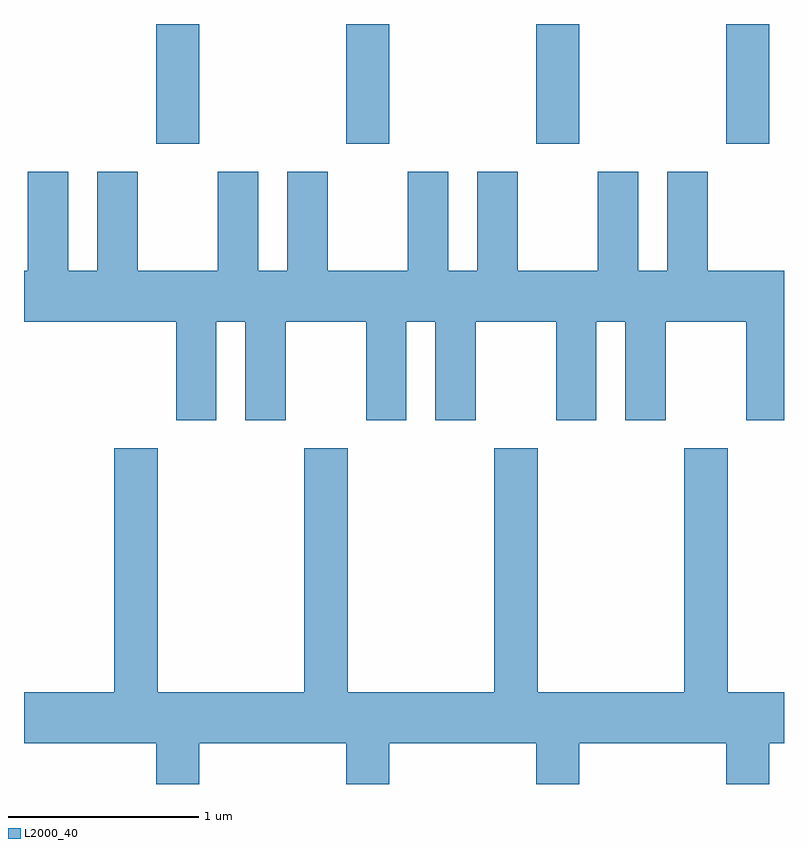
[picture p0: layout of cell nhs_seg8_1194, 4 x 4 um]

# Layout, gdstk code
import gdstk
lib = gdstk.Library(unit=1e-6, precision=1e-09)
def R(c, l, rs):  # rectangles x0, y0, x1, y1
    for r in rs: c.add(gdstk.rectangle(r[:2], r[2:], *l))
def A(c, l, x, y, w, h, nx, ny, dx, dy):  # array of equal rectangles
    R(c, l, [(x+i*dx, y+j*dy, x+i*dx+w, y+j*dy+h) for i in range(nx) for j in range(ny)])
def P(c, l, *ps):  # polygons
    for p in ps: c.add(gdstk.Polygon(p, *l))
L2000_40 = (2000, 40)

nhs_seg8_1194 = lib.new_cell('nhs_seg8_1194')
A(nhs_seg8_1194, L2000_40, 220.306, 1921.711, 0.228, 0.631, 4, 1, 1, 0)
P(nhs_seg8_1194, L2000_40, [(220.624,1920.776),(220.776,1920.776),(220.776,1920.256),(220.989,1920.256),(220.989,1920.776),(221.411,1920.776),(221.411,1920.256),(221.624,1920.256),(221.624,1920.776),(221.776,1920.776),(221.776,1920.256),(221.989,1920.256),(221.989,1920.776),(222.411,1920.776),(222.411,1920.256),(222.624,1920.256),(222.624,1920.776),(222.776,1920.776),(222.776,1920.256),(222.989,1920.256),(222.989,1920.776),(223.411,1920.776),(223.411,1920.256),(223.611,1920.256),(223.611,1921.044),(223.209,1921.044),(223.209,1921.564),(222.996,1921.564),(222.996,1921.044),(222.844,1921.044),(222.844,1921.564),(222.631,1921.564),(222.631,1921.044),(222.209,1921.044),(222.209,1921.564),(221.996,1921.564),(221.996,1921.044),(221.844,1921.044),(221.844,1921.564),(221.631,1921.564),(221.631,1921.044),(221.209,1921.044),(221.209,1921.564),(220.996,1921.564),(220.996,1921.044),(220.844,1921.044),(220.844,1921.564),(220.631,1921.564),(220.631,1921.044),(220.209,1921.044),(220.209,1921.564),(219.996,1921.564),(219.996,1921.044),(219.844,1921.044),(219.844,1921.564),(219.631,1921.564),(219.631,1921.044),(219.611,1921.044),(219.611,1920.776),(220.411,1920.776),(220.411,1920.256),(220.624,1920.256)],
  [(220.314,1920.109),(220.086,1920.109),(220.086,1918.824),(219.611,1918.824),(219.611,1918.556),(220.306,1918.556),(220.306,1918.342),(220.534,1918.342),(220.534,1918.556),(221.306,1918.556),(221.306,1918.342),(221.534,1918.342),(221.534,1918.556),(222.306,1918.556),(222.306,1918.342),(222.534,1918.342),(222.534,1918.556),(223.306,1918.556),(223.306,1918.342),(223.534,1918.342),(223.534,1918.556),(223.611,1918.556),(223.611,1918.824),(223.314,1918.824),(223.314,1920.109),(223.086,1920.109),(223.086,1918.824),(222.314,1918.824),(222.314,1920.109),(222.086,1920.109),(222.086,1918.824),(221.314,1918.824),(221.314,1920.109),(221.086,1920.109),(221.086,1918.824),(220.314,1918.824)])

lib.write_gds('nhs_seg8_1194.gds')
